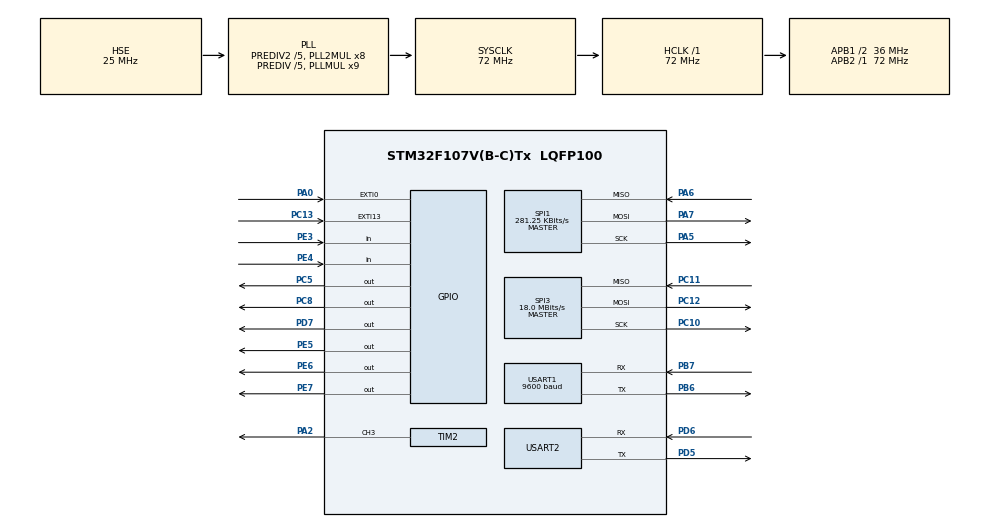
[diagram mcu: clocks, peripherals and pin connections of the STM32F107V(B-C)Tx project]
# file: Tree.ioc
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Dma.Request0=USART1_RX
Dma.USART1_RX.0.Direction=DMA_PERIPH_TO_MEMORY
Dma.USART1_RX.0.Instance=DMA1_Channel5
Dma.USART1_RX.0.MemDataAlignment=DMA_MDATAALIGN_BYTE
Dma.USART1_RX.0.MemInc=DMA_MINC_ENABLE
Dma.USART1_RX.0.Mode=DMA_CIRCULAR
Dma.USART1_RX.0.PeriphDataAlignment=DMA_PDATAALIGN_BYTE
Dma.USART1_RX.0.PeriphInc=DMA_PINC_DISABLE
Dma.USART1_RX.0.Priority=DMA_PRIORITY_LOW
Mcu.Family=STM32F1
Mcu.Name=STM32F107V(B-C)Tx
Mcu.Package=LQFP100
NVIC.DMA1_Channel5_IRQn=true\:1\:1\:true\:false\:true
NVIC.EXTI0_IRQn=true\:0\:0\:true\:false\:true
NVIC.EXTI15_10_IRQn=true\:0\:1\:false\:false\:true
NVIC.PriorityGroup=NVIC_PRIORITYGROUP_2
NVIC.USART1_IRQn=true\:1\:2\:true\:false\:true
OSC_IN.Mode=HSE-External-Oscillator
OSC_IN.Signal=RCC_OSC_IN
OSC_OUT.Mode=HSE-External-Oscillator
OSC_OUT.Signal=RCC_OSC_OUT
PA0-WKUP.Signal=GPXTI0
PA2.GPIO_Speed=GPIO_SPEED_FREQ_HIGH
PA2.Signal=S_TIM2_CH3
PA5.Mode=Full_Duplex_Master
PA5.Signal=SPI1_SCK
PA6.Mode=Full_Duplex_Master
PA6.Signal=SPI1_MISO
PA7.Mode=Full_Duplex_Master
PA7.Signal=SPI1_MOSI
PB6.Mode=Asynchronous
PB6.Signal=USART1_TX
PB7.Mode=Asynchronous
PB7.Signal=USART1_RX
PC10.Mode=Full_Duplex_Master
PC10.Signal=SPI3_SCK
PC11.Mode=Full_Duplex_Master
PC11.Signal=SPI3_MISO
PC12.Mode=Full_Duplex_Master
PC12.Signal=SPI3_MOSI
PC13-TAMPER-RTC.GPIO_ModeDefaultEXTI=GPIO_MODE_IT_FALLING
PC13-TAMPER-RTC.Signal=GPXTI13
PC5.Signal=GPIO_Output
PC8.GPIO_Speed=GPIO_SPEED_FREQ_HIGH
PC8.PinState=GPIO_PIN_RESET
PC8.Signal=GPIO_Output
PD5.Mode=Asynchronous
PD5.Signal=USART2_TX
PD6.Mode=Asynchronous
PD6.Signal=USART2_RX
PD7.GPIO_Speed=GPIO_SPEED_FREQ_HIGH
PD7.PinState=GPIO_PIN_RESET
PD7.Signal=GPIO_Output
PE3.Signal=GPIO_Input
PE4.Signal=GPIO_Input
PE5.GPIO_Speed=GPIO_SPEED_FREQ_HIGH
PE5.PinState=GPIO_PIN_RESET
PE5.Signal=GPIO_Output
PE6.GPIO_Speed=GPIO_SPEED_FREQ_HIGH
PE6.PinState=GPIO_PIN_RESET
PE6.Signal=GPIO_Output
PE7.GPIO_Speed=GPIO_SPEED_FREQ_HIGH
PE7.PinState=GPIO_PIN_RESET
PE7.Signal=GPIO_Output
ProjectManager.HeapSize=0x200
ProjectManager.StackSize=0x400
ProjectManager.TargetToolchain=MDK-ARM V5
RCC.ADCPresc=RCC_ADCPCLK2_DIV4
RCC.AHBFreq_Value=72000000
RCC.APB1CLKDivider=RCC_HCLK_DIV2
RCC.APB1Freq_Value=36000000
RCC.APB1TimFreq_Value=72000000
RCC.APB2Freq_Value=72000000
RCC.APB2TimFreq_Value=72000000
RCC.HCLKFreq_Value=72000000
RCC.HSEDivPLL=RCC_HSE_PREDIV_DIV5
RCC.HSE_VALUE=25000000
RCC.HSIState=RCC_HSI_ON
RCC.PLLMUL=RCC_PLL_MUL9
RCC.PLLSourceVirtual=RCC_PLLSOURCE_HSE
RCC.Prediv1Source=RCC_PREDIV1_SOURCE_PLL2
RCC.Prediv2=RCC_HSE_PREDIV2_DIV5
RCC.SYSCLKFreq_VALUE=72000000
RCC.SYSCLKSource=RCC_SYSCLKSOURCE_PLLCLK
RCC.USBFreq_Value=48000000
RTC.Format=RTC_FORMAT_BIN
SH.S_TIM2_CH3.0=TIM2_CH3,PWM Generation3 CH3
SPI1.BaudRatePrescaler=SPI_BAUDRATEPRESCALER_256
SPI1.CalculateBaudRate=281.25 KBits/s
SPI1.Mode=SPI_MODE_MASTER
SPI3.BaudRatePrescaler=SPI_BAUDRATEPRESCALER_2
SPI3.CLKPhase=SPI_PHASE_2EDGE
SPI3.CLKPolarity=SPI_POLARITY_HIGH
SPI3.CalculateBaudRate=18.0 MBits/s
SPI3.Mode=SPI_MODE_MASTER
TIM2.Channel-PWM\ Generation3\ CH3=TIM_CHANNEL_3
TIM2.Period=1000-1
TIM2.Prescaler=72-1
TIM2.Pulse-PWM\ Generation3\ CH3=(1000-1)/2
USART1.BaudRate=9600
VP_RTC_VS_RTC_Activate.Mode=RTC_Enabled
VP_RTC_VS_RTC_Calendar.Mode=RTC_Calendar
VP_SYS_VS_ND.Mode=No_Debug
VP_TIM2_VS_ClockSourceINT.Mode=Internal
board=Tree

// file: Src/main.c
/**
  ******************************************************************************
  * File Name          : main.c
  * Description        : Main program body
  ******************************************************************************
  *
  * COPYRIGHT(c) 2017 STMicroelectronics
  *
  * Redistribution and use in source and binary forms, with or without modification,
  * are permitted provided that the following conditions are met:
  *   1. Redistributions of source code must retain the above copyright notice,
  *      this list of conditions and the following disclaimer.
  *   2. Redistributions in binary form must reproduce the above copyright notice,
  *      this list of conditions and the following disclaimer in the documentation
  *      and/or other materials provided with the distribution.
  *   3. Neither the name of STMicroelectronics nor the names of its contributors
  *      may be used to endorse or promote products derived from this software
  *      without specific prior written permission.
  *
  * THIS SOFTWARE IS PROVIDED BY THE COPYRIGHT HOLDERS AND CONTRIBUTORS "AS IS"
  * AND ANY EXPRESS OR IMPLIED WARRANTIES, INCLUDING, BUT NOT LIMITED TO, THE
  * IMPLIED WARRANTIES OF MERCHANTABILITY AND FITNESS FOR A PARTICULAR PURPOSE ARE
  * DISCLAIMED. IN NO EVENT SHALL THE COPYRIGHT HOLDER OR CONTRIBUTORS BE LIABLE
  * FOR ANY DIRECT, INDIRECT, INCIDENTAL, SPECIAL, EXEMPLARY, OR CONSEQUENTIAL
  * DAMAGES (INCLUDING, BUT NOT LIMITED TO, PROCUREMENT OF SUBSTITUTE GOODS OR
  * SERVICES; LOSS OF USE, DATA, OR PROFITS; OR BUSINESS INTERRUPTION) HOWEVER
  * CAUSED AND ON ANY THEORY OF LIABILITY, WHETHER IN CONTRACT, STRICT LIABILITY,
  * OR TORT (INCLUDING NEGLIGENCE OR OTHERWISE) ARISING IN ANY WAY OUT OF THE USE
  * OF THIS SOFTWARE, EVEN IF ADVISED OF THE POSSIBILITY OF SUCH DAMAGE.
  *
  ******************************************************************************
  */
#include "main.h"
#include "stm32f1xx_hal.h"

/* USER CODE BEGIN Includes */
#include <string.h>
#include <math.h>
#include "et_stm32f_arm_kit_lcd.h"
#define White 0xFFFF
#define Black 0x0000
#define Grey 0xF7DE
#define Blue 0x001F
#define Blue2 0x051F
#define Red 0xF800
#define Magenta 0xF81F
#define Green 0x07E0
#define Cyan 0x7FFF
#define Yellow 0xFFE0

/* USER CODE END Includes */

RTC_HandleTypeDef hrtc;

SPI_HandleTypeDef hspi1;
SPI_HandleTypeDef hspi3;

TIM_HandleTypeDef htim2;

UART_HandleTypeDef huart1;
UART_HandleTypeDef huart2;
DMA_HandleTypeDef hdma_usart1_rx;

/* USER CODE BEGIN PV */
/* Private variables ---------------------------------------------------------*/

/* USER CODE END PV */

void SystemClock_Config(void);
void Error_Handler(void);
static void MX_GPIO_Init(void);
static void MX_DMA_Init(void);
static void MX_SPI3_Init(void);
static void MX_USART2_UART_Init(void);
static void MX_USART1_UART_Init(void);
static void MX_TIM2_Init(void);
static void MX_RTC_Init(void);
static void MX_SPI1_Init(void);

void HAL_TIM_MspPostInit(TIM_HandleTypeDef *htim);

/* USER CODE BEGIN PFP */
/* Private function prototypes -----------------------------------------------*/
int isOpen = 1;
int inStartMenu = 0;

void openValve(void) {
	if(!isOpen) {
		isOpen = 1;
		LCD_SetBackColor(Green);
		LCD_SetTextColor(White);
  	LCD_DisplayStringLine(Line0,"        OPEN        ");
		LCD_SetBackColor(White);

		float duty = 0;
		while(duty<1.0) {
			duty += 0.05;
			htim2.Instance -> CCR3 = (1000-1) * duty;
			HAL_Delay(100);
		}
	}

}
void closeValve(void) {
	if(isOpen) {
		isOpen = 0;
		LCD_SetBackColor(Blue);
		LCD_SetTextColor(White);
  	LCD_DisplayStringLine(Line0,"     TreeMinder     ");
		LCD_SetBackColor(White);

		float duty = 1.0;
		while(duty>0) {
			duty -= 0.05;
			htim2.Instance -> CCR3 = (1000-1) * duty;
			HAL_Delay(100);
		}
	}
}
char* toDateString(uint8_t  date) {
		switch(date) {
			case RTC_WEEKDAY_MONDAY: return "Mon";
			case RTC_WEEKDAY_TUESDAY: return "Tue";
			case RTC_WEEKDAY_WEDNESDAY: return "Wed";
			case RTC_WEEKDAY_THURSDAY: return "Thu";
			case RTC_WEEKDAY_FRIDAY: return "Fri";
			case RTC_WEEKDAY_SATURDAY: return "Sat";
			case RTC_WEEKDAY_SUNDAY: return "Sun";
			default: return "Day";
		}
}
int compareTime(RTC_TimeTypeDef a,RTC_TimeTypeDef b) {
		if(a.Hours==b.Hours && a.Minutes==b.Minutes && a.Seconds>>2==b.Seconds>>2)
			return 1;
		else
			return 0;
}

/* USER CODE END PFP */

/* USER CODE BEGIN 0 */
RTC_TimeTypeDef sTime;
RTC_DateTypeDef sDate;
RTC_HandleTypeDef hrtc;

RTC_TimeTypeDef alarm[8] = {
	{0,0,0},
	{0,0,0},
	{11,30,0},
	{13,00,0},
	{15,00,0},
	{17,00,0},
	{20,30,0},
	{21,30,0}
};
RTC_TimeTypeDef wakeTime = {8,0,0};
RTC_TimeTypeDef sleepTime = {21,0,0};

int statistic[7][8] = {
	{5,9,2,1,5,4,2,0},
	{1,2,1,9,0,0,0,0},
	{5,8,7,5,9,0,0,0},
	{6,4,9,0,0,0,0,0},
	{0,8,5,5,5,9,0,0},
	{3,7,8,9,1,5,4,9},
	{0,0,0,0,0,0,0,0}
};

uint32_t kg=65,age=30;
int pass=-1,day=6;
char name[21]="User";
uint8_t cmd[2],mode=0,open=0;
char recieve[21];
char disp[21],*str,lastSec=0;

//variables need to be declared at the beginning
/* USER CODE BEGIN 4 */
void calculate() {

	int sleepHrFixed = (sleepTime.Hours==0)? 24:sleepTime.Hours;
	int gap = (sleepHrFixed*60+sleepTime.Minutes) - (wakeTime.Hours*60+wakeTime.Hours);
	if(gap<0) gap *= -1;

	for(int i=0;i<8;i++) {
		int minnow = round(i/8.0*gap);
		alarm[i].Hours = (wakeTime.Hours + minnow/60)%24;
		minnow /= 60;
		if(minnow+wakeTime.Minutes>=60) alarm[i].Hours++;
		alarm[i].Minutes = (wakeTime.Minutes + minnow)%60;
	}

	while(sTime.Hours>alarm[pass+1].Hours || (sTime.Hours==alarm[pass+1].Hours&&sTime.Minutes>alarm[pass+1].Minutes)) {
		pass++;
		if(pass==8) {
			pass = -1;
			break;
		}
	}

}
void startMenu() {
		inStartMenu = 1;
		uint16_t x,y;

		LCD_Clear(0x674D);  //light green
		LCD_SetTextColor(0x6A62); //brown
		LCD_SetBackColor(0x674D); //light green

		LCD_DisplayStringLine(Line0,"     TreeMinder  ");
		LCD_DrawLine(29,320-50,220,Horizontal);
		LCD_DrawLine(30,320-50,220,Horizontal);

		LCD_SetTextColor(White);
		LCD_DisplayStringLine(Line2,"NAME: User");

		LCD_DisplayStringLine(Line3,"AGE: <    >");
		LCD_DrawRect(73,320-77,20,20); //--
		LCD_DrawRect(73,320-155,20,20); //++

		LCD_DisplayStringLine(Line4,"WEIGHT: <    >");
		LCD_DrawRect(97,320-123,20,20);
		LCD_DrawRect(97,320-203,20,20);

		LCD_DisplayStringLine(Line5,"WAKE:<    >:<    >");
		LCD_DrawRect(120,320-80,20,20);
		LCD_DrawRect(120,320-158,20,20);
		LCD_DrawRect(120,320-190,20,20);
		LCD_DrawRect(120,320-270,20,20);

		LCD_DisplayStringLine(Line6,"SLEEP:<    >:<    >");
		LCD_DrawRect(145,320-93,20,20);
		LCD_DrawRect(145,320-171,20,20);
		LCD_DrawRect(145,320-203,20,20);
		LCD_DrawRect(145,320-283,20,20);

		LCD_DisplayStringLine(Line7,"TIME:<    >:<    >");
		LCD_DrawRect(170,320-80,20,20);
		LCD_DrawRect(170,320-158,20,20);
		LCD_DrawRect(170,320-190,20,20);
		LCD_DrawRect(170,320-270,20,20);

		LCD_SetTextColor(Yellow);
		LCD_DisplayStringLine(Line9,"        DONE        ");
		LCD_DrawRect(215,320-115,25,90);

		LCD_DisplayChar(Line3,320-130,age%10+'0');
		LCD_DisplayChar(Line3,320-115,age/10+'0');

		LCD_DisplayChar(Line4,320-180,kg%10+'0');
		LCD_DisplayChar(Line4,320-165,kg/10+'0');

		LCD_DisplayChar(Line5,320-130,wakeTime.Hours%10+'0');
		LCD_DisplayChar(Line5,320-115,wakeTime.Hours/10+'0');
		LCD_DisplayChar(Line5,320-240,wakeTime.Minutes%10+'0');
		LCD_DisplayChar(Line5,320-225,wakeTime.Minutes/10+'0');

		LCD_DisplayChar(Line6,320-140,sleepTime.Hours%10+'0');
		LCD_DisplayChar(Line6,320-125,sleepTime.Hours/10+'0');
		LCD_DisplayChar(Line6,320-255,sleepTime.Minutes%10+'0');
		LCD_DisplayChar(Line6,320-240,sleepTime.Minutes/10+'0');

		LCD_DisplayChar(Line7,320-130,sTime.Hours%10+'0');
		LCD_DisplayChar(Line7,320-115,sTime.Hours/10+'0');
		LCD_DisplayChar(Line7,320-240,sTime.Minutes%10+'0');
		LCD_DisplayChar(Line7,320-225,sTime.Minutes/10+'0');

	while(inStartMenu) {
		HAL_UART_Receive_DMA(&huart1,(uint8_t *)recieve,20);

		x = TCS_Read_X();
		y = TCS_Read_Y();

			sprintf (disp, "[%02d:%02d]\n\r", x,y);
			HAL_UART_Transmit(&huart2,(uint8_t *)disp,strlen(disp),1000);

			// AGE //
		if (x >= 150 && x <= 160 && y >=240-160 && y <= 240-150 ){ //++ age
			if (age < 99 && age>1 ){
					age++;
					LCD_DisplayChar(Line3,320-130,age%10+'0');
					LCD_DisplayChar(Line3,320-115,age/10+'0');
					HAL_Delay(200);
				}
			}
		if (x >= 220 && x <= 230 && y >=240-160 && y <= 240-150 ){ //-- age
			if (age <= 99 && age>1 ){
				age--;
				LCD_DisplayChar(Line3,320-130,age%10+'0');
				LCD_DisplayChar(Line3,320-115,age/10+'0');
				HAL_Delay(200);
			}
		}

		// WEIGHT //
		if (x >= 100 && x <= 110 && y >= 240-135 && y <= 240-125){  //++weight
			if (kg < 99 && kg>1 ){
					kg++;
					LCD_DisplayChar(Line4,320-180,kg%10+'0');
					LCD_DisplayChar(Line4,320-165,kg/10+'0');
					HAL_Delay(200);
				}
		}

		if (x >= 180 && x <= 190 && y >= 240-135 && y <= 240-125){  //--weight
			if (kg <= 99 && kg >1 ){
					kg--;
					LCD_DisplayChar(Line4,320-180,kg%10+'0');
					LCD_DisplayChar(Line4,320-165,kg/10+'0');
					HAL_Delay(200);
				}
		}

		// WAKE HR //
		if (x >= 150 && x <= 160 && y >=240-110 && y <= 240-100 ){ //++ wakehr
					wakeTime.Hours = (wakeTime.Hours+1)%24;
					LCD_DisplayChar(Line5,320-130,wakeTime.Hours%10+'0');
					LCD_DisplayChar(Line5,320-115,wakeTime.Hours/10+'0');
					HAL_Delay(200);
		}

		if (x >= 220 && x <= 230 && y >=240-110 && y <= 240-100 ){ //-- wakehr
				if (wakeTime.Hours > 0 ){
					wakeTime.Hours--;
					LCD_DisplayChar(Line5,320-130,wakeTime.Hours%10+'0');
					LCD_DisplayChar(Line5,320-115,wakeTime.Hours/10+'0');
					HAL_Delay(200);
				}
		}

		// WAKE MIN //
		if (x >= 30 && x <= 40 && y >=240-110 && y <= 240-100 ){ //++wake min
			wakeTime.Minutes = (wakeTime.Minutes+1)%60;
					LCD_DisplayChar(Line5,320-240,wakeTime.Minutes%10+'0');
					LCD_DisplayChar(Line5,320-225,wakeTime.Minutes/10+'0');
			HAL_Delay(200);

		}
		if (x >= 110 && x <= 120 && y >=240-110 && y <= 240-100 ){ //-- wakemin
				if (wakeTime.Minutes > 0 ){
					wakeTime.Minutes--;
					LCD_DisplayChar(Line5,320-240,wakeTime.Minutes%10+'0');
					LCD_DisplayChar(Line5,320-225,wakeTime.Minutes/10+'0');
					HAL_Delay(200);
				}
		}

		// SLEEP HR //
		if (x >= 130 && x <= 140 && y >=240-85 && y <= 240-75 ){ //++ slphr
					sleepTime.Hours = (sleepTime.Hours+1)%24;
					LCD_DisplayChar(Line6,320-140,sleepTime.Hours%10+'0');
					LCD_DisplayChar(Line6,320-125,sleepTime.Hours/10+'0');
			HAL_Delay(200);
		}

		if (x >= 210 && x <= 220 && y >=240-85 && y <= 240-75 ){ //-- slphr
				if (sleepTime.Hours > 0 ){
					sleepTime.Hours--;
					LCD_DisplayChar(Line6,320-140,sleepTime.Hours%10+'0');
					LCD_DisplayChar(Line6,320-125,sleepTime.Hours/10+'0');
					HAL_Delay(200);
				}

		}

		// SLEEP MIN //
		if (x >= 20 && x <= 30 && y >=240-85 && y <= 240-75 ){ //++slp min
			sleepTime.Minutes = (sleepTime.Minutes+1)%60;
			LCD_DisplayChar(Line6,320-255,sleepTime.Minutes%10+'0');
			LCD_DisplayChar(Line6,320-240,sleepTime.Minutes/10+'0');
			HAL_Delay(200);

		}
		if (x >= 100 && x <= 110 && y >=240-85 && y <= 240-75 ){ //-- slpmin
			if (sleepTime.Minutes > 0 ){
					sleepTime.Minutes--;
					LCD_DisplayChar(Line6,320-255,sleepTime.Minutes%10+'0');
					LCD_DisplayChar(Line6,320-240,sleepTime.Minutes/10+'0');
				HAL_Delay(200);
				}
		}

		// TIME HR //
		if (x >= 150 && x <= 160 && y >=240-60 && y <= 240-50 ){ //++ tmhr
					sTime.Hours = (sTime.Hours+1)%24;
					LCD_DisplayChar(Line7,320-130,sTime.Hours%10+'0');
					LCD_DisplayChar(Line7,320-115,sTime.Hours/10+'0');
			HAL_Delay(200);
		}

		if (x >= 220 && x <= 230 && y >=240-60 && y <= 240-50 ){ //-- tmhr
				if (sTime.Hours > 0 ){
					sTime.Hours--;
					LCD_DisplayChar(Line7,320-130,sTime.Hours%10+'0');
					LCD_DisplayChar(Line7,320-115,sTime.Hours/10+'0');
					HAL_Delay(200);
				}
		}

		// TIME MIN //
		if (x >= 30 && x <= 40 && y >=240-60 && y <= 240-50 ){ //++tmmin
			sTime.Minutes = (sTime.Minutes+1)%60;
			LCD_DisplayChar(Line7,320-240,sTime.Minutes%10+'0');
			LCD_DisplayChar(Line7,320-225,sTime.Minutes/10+'0');
			HAL_Delay(200);

		}
		if (x >= 110 && x <= 120 && y >=240-60 && y <= 240-50 ){ //-- tmmin
				if (sTime.Minutes > 0 ){
					sTime.Minutes--;
					LCD_DisplayChar(Line7,320-240,sTime.Minutes%10+'0');
					LCD_DisplayChar(Line7,320-225,sTime.Minutes/10+'0');
					HAL_Delay(200);
				}
		}

		// DONE //
		if (x >= 100 && x <= 200 && y >=240-10 && y <= 240-0 ){ //-- DONE
				calculate();

			sprintf (disp, "%c", 'a'+kg);
			HAL_UART_Transmit_IT(&huart1, (uint8_t *) disp, 1);

				inStartMenu = 0;
		}

	}
	HAL_RTC_SetTime(&hrtc, &sTime, RTC_FORMAT_BIN);
}

void setTree(int treeNo,int step1,int step2, int step3, int step4, int step5, int step6, int step7, int step8){
		int num_25 = 320-25;
		int num_24 = 320-24;
		int num_10 = 320-10;
		int num_40 = 320-40;
		int num_26 = 320-26;

		LCD_SetTextColor(0x6A62); //brown
		LCD_DrawCircle(239,num_25-44*(treeNo),10); //ground
		LCD_DrawCircle(239,num_25-44*(treeNo),9); //ground
		LCD_DrawCircle(239,num_25-44*(treeNo),8); //ground

		if(step2+step3+step4+step5+step6+step7 && step1==0) {
					LCD_SetTextColor(Grey);
					LCD_DrawLine(195,num_25-44*(treeNo),35,Vertical); //first stem
		}
		if(step5+step6+step7 && step4==0) {
					LCD_SetTextColor(Grey);
					LCD_DrawLine(155,num_25-44*(treeNo),40,Vertical); //stem grows
		}
		if(step8 && step7==0) {
					LCD_SetTextColor(Grey);
					LCD_DrawLine(120,num_25-44*(treeNo),45,Vertical); //stem grows
		}

				if (step1 == 0){
						;
				}
				if (step1 == 1){
					LCD_SetTextColor(0x6A62); //brown
					LCD_DrawLine(195,num_25-44*(treeNo),35,Vertical); //first stem
				}

				if (step1 == 2){
					LCD_SetTextColor(Yellow);
					LCD_DrawLine(195,num_25-44*(treeNo),35,Vertical); //first stem
				}

				if (step2 == 0){

						;
				}
				if (step2 == 1){
					LCD_SetTextColor(0x6A62); //brown
					LCD_DrawLine(215,num_24-44*(treeNo),10,Left);
					LCD_SetTextColor(0x674D); // light green
					LCD_DrawCircle(200,num_10-44*(treeNo),8);  //fresh leaf
					LCD_DrawCircle(200,num_10-44*(treeNo),7);  //fresh leaf
					LCD_DrawCircle(200,num_10-44*(treeNo),6);  //fresh leaf
				}
				if (step2 == 2){
					LCD_SetTextColor(0x6A62); //brown
					LCD_DrawLine(215,num_24-44*(treeNo),10,Left);
					LCD_SetTextColor(0x674D); // light green
					LCD_DrawCircle(200,num_10-44*(treeNo),5);  //wither leaf
				}

				if (step3 == 0){
						;
				}
				if (step3 == 1){
					LCD_SetTextColor(0x6A62); //brown
					LCD_DrawLine(205,num_26-44*(treeNo),10,Right);
					LCD_SetTextColor(0x674D); // light green
					LCD_DrawCircle(190,num_40-44*(treeNo),8);  //fresh leaf
					LCD_DrawCircle(190,num_40-44*(treeNo),7);  //fresh leaf
					LCD_DrawCircle(190,num_40-44*(treeNo),6);  //fresh leaf

				}
				if (step3 == 2){
					LCD_SetTextColor(0x6A62); //brown
					LCD_DrawLine(205,num_26-44*(treeNo),10,Right);
					LCD_SetTextColor(0x674D); // light green
					LCD_DrawCircle(190,num_40-44*(treeNo),5);  //wither leaf
				}

				if (step4 == 0){
						;
				}
				if (step4 == 1){
					LCD_SetTextColor(0x6A62); //brown
					LCD_DrawLine(155,num_25-44*(treeNo),40,Vertical); //stem grows
				}
				if (step4 == 2){
					LCD_SetTextColor(Yellow);
					LCD_DrawLine(155,num_25-44*(treeNo),40,Vertical); //stem grows
				}

				if (step5 == 0){
					;
				}
				if (step5 == 1){
					LCD_SetTextColor(0x6A62); //brown
					LCD_DrawLine(175,num_24-44*(treeNo),10,Left);
					LCD_SetTextColor(0x674D); // light green
					LCD_DrawCircle(160,num_10-44*(treeNo),8);  //fresh leaf
					LCD_DrawCircle(160,num_10-44*(treeNo),7);  //fresh leaf
					LCD_DrawCircle(160,num_10-44*(treeNo),6);  //fresh leaf

				}
				if (step5 == 2){
					LCD_SetTextColor(0x6A62); //brown
					LCD_DrawLine(175,num_24-44*(treeNo),10,Left);
					LCD_SetTextColor(0x674D); // light green
					LCD_DrawCircle(160,num_10-44*(treeNo),5);  //wither leaf
				}

				if (step6 == 0){
					;
				}
				if (step6 == 1){
					LCD_SetTextColor(0x6A62); //brown
					LCD_DrawLine(155,num_26-44*(treeNo),10,Right);
					LCD_SetTextColor(0x674D); // light green
					LCD_DrawCircle(140,num_40-44*(treeNo),8);  //fresh leaf
					LCD_DrawCircle(140,num_40-44*(treeNo),7);  //fresh leaf
					LCD_DrawCircle(140,num_40-44*(treeNo),6);  //fresh leaf

				}
				if (step6 == 2){
					LCD_SetTextColor(0x6A62); //brown
					LCD_DrawLine(155,num_26-44*(treeNo),10,Right);
					LCD_SetTextColor(0x674D); // light green
					LCD_DrawCircle(140,num_40-44*(treeNo),5);  //wither leaf
				}

				if (step7 == 0){
					;
				}
				if (step7 == 1){
					LCD_SetTextColor(0x6A62); //brown
					LCD_DrawLine(120,num_25-44*(treeNo),45,Vertical); //stem grows
				}
				if (step7 == 2){
					LCD_SetTextColor(Yellow);
					LCD_DrawLine(120,num_25-44*(treeNo),45,Vertical); //stem grows
				}

				if (step8 == 0){
					;
				}
				if (step8 == 1 ){
					LCD_SetTextColor(0x674D); // light greecn
					LCD_DrawCircle(115,num_25-44*(treeNo),15);  //fresh leaf
					LCD_DrawCircle(115,num_25-44*(treeNo),14);  //fresh leaf
					LCD_DrawCircle(115,num_25-44*(treeNo),13);  //fresh leaf
				}
				if (step8 == 2 && step7 != 0){
					LCD_SetTextColor(0x674D); // light green
					LCD_DrawCircle(115,num_25-44*(treeNo),10);  //wither leaf
				}

}

void setTreeStat(int treeNo) {

	int toSet[8];
	for(int i=0;i<8;i++) {
		if(statistic[treeNo][i]<3)
			toSet[i] = 0;
		else if(statistic[treeNo][i]<7)
			toSet[i] = 2;
		else
			toSet[i] = 1;

	}
	setTree(treeNo,toSet[0],toSet[1],toSet[2],toSet[3],toSet[4],toSet[5],toSet[6],toSet[7]);
}

void callMenu() {

			LCD_Clear(White);  //light green

			LCD_SetBackColor(Blue);
			LCD_SetTextColor(White);
  		LCD_DisplayStringLine(Line0,"     TreeMinder     ");
			LCD_SetBackColor(White);

			LCD_SetTextColor(Black);
			HAL_RTC_GetTime(&hrtc, &sTime, RTC_FORMAT_BIN);
			HAL_RTC_GetDate(&hrtc, &sDate, RTC_FORMAT_BIN);
			sprintf (disp, " YOU   %02d:%02d   TIME ", sTime.Hours,sTime.Minutes);
			LCD_DisplayStringLine(Line1,(uint8_t *)disp);
			LCD_DisplayStringLine(Line2,"       CHECK       ");

			LCD_SetTextColor(Yellow);
			LCD_DrawRect(18,315,30,80); //you button
			LCD_DrawRect(18,90,30,80); //time button
			LCD_DrawRect(42,220,30,110); //check button

			setTreeStat(0);
			setTreeStat(1);
			setTreeStat(2);
			setTreeStat(3);
			setTreeStat(4);
			setTreeStat(5);
			setTreeStat(6);

}

void callYou() {
	uint16_t x,y;
	inStartMenu = 2;

	LCD_Clear(0x674D);  //light green

	LCD_SetTextColor(0x6A62); //brown
	LCD_SetBackColor(0x674D); //light green

	sprintf(disp,"NAME:%s",name);
	LCD_DisplayStringLine(Line0, (uint8_t *) disp);
	sprintf(disp,"AGE:%02d KG:%02d",age,kg);
	LCD_DisplayStringLine(Line1, (uint8_t *) disp);
	sprintf (disp, "Wake Time:  [%02d:%02d]", wakeTime.Hours,wakeTime.Minutes);
	LCD_DisplayStringLine(Line2, (uint8_t *) disp);
	sprintf (disp, "Sleep Time:  [%02d:%02d]", sleepTime.Hours,sleepTime.Minutes);
	LCD_DisplayStringLine(Line3, (uint8_t *) disp);
	sprintf (disp, "Next Time: [%02d:%02d]", alarm[pass+1].Hours,alarm[pass+1].Minutes);
	LCD_DisplayStringLine(Line4,(uint8_t *)disp);

	LCD_SetTextColor(Yellow);
	LCD_DisplayStringLine(Line9,"        DONE        ");
	LCD_DrawRect(215,320-115,25,90);

	while(inStartMenu) {
		x = TCS_Read_X();
		y = TCS_Read_Y();
		if(x!=0 && y != 0) {//if (x >= 100 && x <= 200 && y >=240-50 && y <= 240-0 ){ //-- DONE

				inStartMenu = 0;
		}
		HAL_Delay(100);
	}
	callMenu();
}

void callTime() {
	uint16_t x,y;
	inStartMenu = 3;

	LCD_Clear(0x674D);  //light green
	LCD_SetTextColor(White); //brown
	LCD_SetBackColor(0x674D); //light green

	sprintf (disp, "Water poured at:    ");
	LCD_DisplayStringLine(Line0,(uint8_t *)disp);
	for(int i=0;i<8;i++) {
		sprintf (disp, " : [%02d:%02d]          ",alarm[i].Hours,alarm[i].Minutes);
		disp[0] = i+'0';
		if(i==pass+1) LCD_SetTextColor(Yellow);
		else LCD_SetTextColor(White);
		LCD_DisplayStringLine(Line1+24*i,(uint8_t *)disp);
	}

	LCD_SetTextColor(Yellow);
	LCD_DisplayStringLine(Line9,"        DONE        ");
	LCD_DrawRect(215,320-115,25,90);

	while(inStartMenu) {
		x = TCS_Read_X();
		y = TCS_Read_Y();
		if(x!=0 && y != 0) {//if (x >= 100 && x <= 200 && y >=240-50 && y <= 240-0 ){ //-- DONE
				inStartMenu = 0;
		}
		HAL_Delay(100);
	}
	callMenu();
}
void callStat(int num) {
	uint16_t x,y;
	inStartMenu = 4;

	LCD_Clear(0x674D);  //light green
	LCD_SetTextColor(White); //brown
	LCD_SetBackColor(0x674D); //light green

	sprintf (disp, "--- Day %d ---",num+1);
	LCD_DisplayStringLine(Line0,(uint8_t *)disp);

	for(int i=0;i<8;i++) {
		sprintf (disp, "Glass %d: %d%%", i+1,statistic[num][i]*10);
		LCD_DisplayStringLine(Line1+24*i,(uint8_t *)disp);
	}

	LCD_SetTextColor(Yellow);
	LCD_DisplayStringLine(Line9,"        DONE        ");
	LCD_DrawRect(215,320-115,25,90);

	while(inStartMenu) {
		x = TCS_Read_X();
		y = TCS_Read_Y();
		if(x!=0 && y != 0) {//if (x >= 100 && x <= 200 && y >=240-50 && y <= 240-0 ){ //-- DONE
				inStartMenu = 0;
		}
		HAL_Delay(100);
	}
	callMenu();

}
//Interrupt callback routine

/* USER CODE END 0 */

int main(void)
{

  /* MCU Configuration----------------------------------------------------------*/

  /* Reset of all peripherals, Initializes the Flash interface and the Systick. */
  HAL_Init();

  /* Configure the system clock */
  SystemClock_Config();

  /* Initialize all configured peripherals */
  MX_GPIO_Init();
  MX_DMA_Init();
  MX_SPI3_Init();
  MX_USART2_UART_Init();
  MX_USART1_UART_Init();
  MX_TIM2_Init();
  MX_RTC_Init();
  MX_SPI1_Init();

  /* USER CODE BEGIN 2 */
	__HAL_UART_ENABLE_IT(&huart1, UART_IT_TC);
	__HAL_UART_ENABLE_IT(&huart1, UART_IT_RXNE);
	HAL_TIM_PWM_Start(&htim2, TIM_CHANNEL_3) ;
	HAL_PWR_EnableWakeUpPin(PWR_WAKEUP_PIN1);
	HAL_DMA_Init(&hdma_usart1_rx);

	LCD_Setup();

  /* USER CODE END 2 */

  /* Infinite loop */
  /* USER CODE BEGIN WHILE */

	int X, Y;

	uint16_t posX, posY,maxX=320,maxY=240;
	char pos[50];

	closeValve();

		startMenu();

		callTime();

	int dateOrTime = 0;

  while (1)
  {

			X = TCS_Read_X();
			Y = TCS_Read_Y();

			if (Y >= 24 && Y <= 48 && X >= 240 && X <= 320){ //call You button
					callYou();
			}
			else if (Y >= 24 && Y <= 48 && X >= 0 && X <= 80){ //call Time Button
					callTime();
			}
			else if (Y >= 24 && Y <= 48){ //call check Button
				dateOrTime = (dateOrTime+1)%2;
				LCD_SetTextColor(Black);
				if(dateOrTime) {
					HAL_RTC_GetDate(&hrtc, &sDate, RTC_FORMAT_BIN);
					sprintf (disp, " YOU %s %02d/%02d TIME ", toDateString(sDate.WeekDay),sDate.Date,sDate.Month);
					LCD_DisplayStringLine(Line1,(uint8_t *)disp);
				} else {
					HAL_RTC_GetTime(&hrtc, &sTime, RTC_FORMAT_BIN);
					sprintf (disp, " YOU   %02d:%02d   TIME ", sTime.Hours,sTime.Minutes);
					LCD_DisplayStringLine(Line1,(uint8_t *)disp);

				}

				LCD_SetTextColor(Yellow);
				LCD_DrawRect(18,320-5,30,80); //you button
				LCD_DrawRect(18,320-230,30,80); //time button

			}

			else if (Y > 48 && Y < 115 && X >= 100 && X <= 220){ //call check Button
					sprintf (disp, "%c", 'V'+((pass==-1)? 7:pass) );
					HAL_UART_Transmit_IT(&huart1, (uint8_t *) disp, 1);
					LCD_SetTextColor(Red);
					LCD_DisplayStringLine(Line2,"       WAIT.       ");
					LCD_DrawRect(42,220,30,110); //check button
					HAL_Delay(100);
					LCD_SetTextColor(Black);
					LCD_DisplayStringLine(Line2,"       CHECK       ");
					LCD_SetTextColor(Yellow);
					LCD_DrawRect(42,220,30,110); //check button
			}

			else if (Y >= 115 && Y <= 240 && X >= 320-44 && X <= 320-1){
					callStat(0);
			}
				else if (Y >= 115 && Y <= 240 && X >= 320-99 && X <= 320-45){
					callStat(1);
			}
					else if (Y >= 115 && Y <= 240 && X >= 320-144 && X <= 320-100){
					callStat(2);
			}
						else if (Y >= 115 && Y <= 240 && X >= 320-189 && X <= 320-145){
					callStat(3);
			}
							else if (Y >= 115 && Y <= 240 && X >= 320-234 && X <= 320-190){
					callStat(4);
			}
								else if (Y >= 115 && Y <= 240 && X >= 320-279 && X <= 320-235){
					callStat(5);
			}
									else if (Y >= 115 && Y <= 240 && X >= 320-319 && X <= 320-280){
					callStat(6);
			}

		HAL_RTC_GetTime(&hrtc, &sTime, RTC_FORMAT_BIN);
		HAL_RTC_GetDate(&hrtc, &sDate, RTC_FORMAT_BIN);
		if(sTime.Seconds == 0) {
			LCD_SetTextColor(Black);
			sprintf (disp, " YOU   %02d:%02d   TIME ", sTime.Hours,sTime.Minutes);
			LCD_DisplayStringLine(Line1,(uint8_t *)disp);

			LCD_SetTextColor(Yellow);
			LCD_DrawRect(18,320-5,30,80); //you button
			LCD_DrawRect(18,320-230,30,80); //time button

		}

		if(compareTime(sTime,alarm[pass+1])) {
			pass++;
			if(pass>=7) {
				pass = -1;
				day++;
				if(day>=7)
					day = 0;
				  for(int i=0;i<7;i++)
						for(int j=0;j<8;j++)
							statistic[i][j] = 0;

			}

			//strcpy(str,"It's time to drink !");
			//HAL_UART_Transmit(&huart2, (uint8_t *) str, strlen(str), 1000);

			HAL_UART_Transmit_IT(&huart1, (uint8_t *) "C", 1);
			HAL_Delay(1000);
			//closeValve();
			sprintf (disp, "Next Time: [%02d:%02d]", alarm[pass+1].Hours,alarm[pass+1].Minutes);
			LCD_DisplayStringLine(Line3,(uint8_t *)disp);
		}
		HAL_UART_Receive_DMA(&huart1,(uint8_t *)recieve,20);

  /* USER CODE END WHILE */

  }

}

/** System Clock Configuration
*/
void SystemClock_Config(void)
{

  RCC_OscInitTypeDef RCC_OscInitStruct;
  RCC_ClkInitTypeDef RCC_ClkInitStruct;
  RCC_PeriphCLKInitTypeDef PeriphClkInit;

    /**Initializes the CPU, AHB and APB busses clocks
    */
  RCC_OscInitStruct.OscillatorType = RCC_OSCILLATORTYPE_LSI|RCC_OSCILLATORTYPE_HSE;
  RCC_OscInitStruct.HSEState = RCC_HSE_ON;
  RCC_OscInitStruct.HSEPredivValue = RCC_HSE_PREDIV_DIV5;
  RCC_OscInitStruct.HSIState = RCC_HSI_ON;
  RCC_OscInitStruct.LSIState = RCC_LSI_ON;
  RCC_OscInitStruct.Prediv1Source = RCC_PREDIV1_SOURCE_PLL2;
  RCC_OscInitStruct.PLL.PLLState = RCC_PLL_ON;
  RCC_OscInitStruct.PLL.PLLSource = RCC_PLLSOURCE_HSE;
  RCC_OscInitStruct.PLL.PLLMUL = RCC_PLL_MUL9;
  RCC_OscInitStruct.PLL2.PLL2State = RCC_PLL2_ON;
  RCC_OscInitStruct.PLL2.PLL2MUL = RCC_PLL2_MUL8;
  RCC_OscInitStruct.PLL2.HSEPrediv2Value = RCC_HSE_PREDIV2_DIV5;
  if (HAL_RCC_OscConfig(&RCC_OscInitStruct) != HAL_OK)
  {
    Error_Handler();
  }

    /**Initializes the CPU, AHB and APB busses clocks
    */
  RCC_ClkInitStruct.ClockType = RCC_CLOCKTYPE_HCLK|RCC_CLOCKTYPE_SYSCLK
                              |RCC_CLOCKTYPE_PCLK1|RCC_CLOCKTYPE_PCLK2;
  RCC_ClkInitStruct.SYSCLKSource = RCC_SYSCLKSOURCE_PLLCLK;
  RCC_ClkInitStruct.AHBCLKDivider = RCC_SYSCLK_DIV1;
  RCC_ClkInitStruct.APB1CLKDivider = RCC_HCLK_DIV2;
  RCC_ClkInitStruct.APB2CLKDivider = RCC_HCLK_DIV1;

  if (HAL_RCC_ClockConfig(&RCC_ClkInitStruct, FLASH_LATENCY_2) != HAL_OK)
  {
    Error_Handler();
  }

  PeriphClkInit.PeriphClockSelection = RCC_PERIPHCLK_RTC;
  PeriphClkInit.RTCClockSelection = RCC_RTCCLKSOURCE_LSI;
  if (HAL_RCCEx_PeriphCLKConfig(&PeriphClkInit) != HAL_OK)
  {
    Error_Handler();
  }

    /**Configure the Systick interrupt time
    */
  HAL_SYSTICK_Config(HAL_RCC_GetHCLKFreq()/1000);

    /**Configure the Systick
    */
  HAL_SYSTICK_CLKSourceConfig(SYSTICK_CLKSOURCE_HCLK);

    /**Configure the Systick interrupt time
    */
  __HAL_RCC_PLLI2S_ENABLE();

  /* SysTick_IRQn interrupt configuration */
  HAL_NVIC_SetPriority(SysTick_IRQn, 0, 0);
}

/* RTC init function */
static void MX_RTC_Init(void)
{

  RTC_TimeTypeDef sTime;
  RTC_DateTypeDef DateToUpdate;

    /**Initialize RTC Only
    */
  hrtc.Instance = RTC;
  hrtc.Init.AsynchPrediv = RTC_AUTO_1_SECOND;
  hrtc.Init.OutPut = RTC_OUTPUTSOURCE_ALARM;
  if (HAL_RTC_Init(&hrtc) != HAL_OK)
  {
    Error_Handler();
  }

    /**Initialize RTC and set the Time and Date
    */
  sTime.Hours = 1;
  sTime.Minutes = 0;
  sTime.Seconds = 0;

  if (HAL_RTC_SetTime(&hrtc, &sTime, RTC_FORMAT_BIN) != HAL_OK)
  {
    Error_Handler();
  }

  DateToUpdate.WeekDay = RTC_WEEKDAY_MONDAY;
  DateToUpdate.Month = RTC_MONTH_JANUARY;
  DateToUpdate.Date = 1;
  DateToUpdate.Year = 0;

  if (HAL_RTC_SetDate(&hrtc, &DateToUpdate, RTC_FORMAT_BIN) != HAL_OK)
  {
    Error_Handler();
  }

}

/* SPI1 init function */
static void MX_SPI1_Init(void)
{

  hspi1.Instance = SPI1;
  hspi1.Init.Mode = SPI_MODE_MASTER;
  hspi1.Init.Direction = SPI_DIRECTION_2LINES;
  hspi1.Init.DataSize = SPI_DATASIZE_8BIT;
  hspi1.Init.CLKPolarity = SPI_POLARITY_LOW;
  hspi1.Init.CLKPhase = SPI_PHASE_1EDGE;
  hspi1.Init.NSS = SPI_NSS_SOFT;
  hspi1.Init.BaudRatePrescaler = SPI_BAUDRATEPRESCALER_256;
  hspi1.Init.FirstBit = SPI_FIRSTBIT_MSB;
  hspi1.Init.TIMode = SPI_TIMODE_DISABLE;
  hspi1.Init.CRCCalculation = SPI_CRCCALCULATION_DISABLE;
  hspi1.Init.CRCPolynomial = 10;
  if (HAL_SPI_Init(&hspi1) != HAL_OK)
  {
    Error_Handler();
  }

}

/* SPI3 init function */
static void MX_SPI3_Init(void)
{

  hspi3.Instance = SPI3;
  hspi3.Init.Mode = SPI_MODE_MASTER;
  hspi3.Init.Direction = SPI_DIRECTION_2LINES;
  hspi3.Init.DataSize = SPI_DATASIZE_8BIT;
  hspi3.Init.CLKPolarity = SPI_POLARITY_HIGH;
  hspi3.Init.CLKPhase = SPI_PHASE_2EDGE;
  hspi3.Init.NSS = SPI_NSS_SOFT;
  hspi3.Init.BaudRatePrescaler = SPI_BAUDRATEPRESCALER_2;
  hspi3.Init.FirstBit = SPI_FIRSTBIT_MSB;
  hspi3.Init.TIMode = SPI_TIMODE_DISABLE;
  hspi3.Init.CRCCalculation = SPI_CRCCALCULATION_DISABLE;
  hspi3.Init.CRCPolynomial = 10;
  if (HAL_SPI_Init(&hspi3) != HAL_OK)
  {
    Error_Handler();
  }

}

/* TIM2 init function */
static void MX_TIM2_Init(void)
{

  TIM_ClockConfigTypeDef sClockSourceConfig;
  TIM_MasterConfigTypeDef sMasterConfig;
  TIM_OC_InitTypeDef sConfigOC;

  htim2.Instance = TIM2;
  htim2.Init.Prescaler = 72-1;
  htim2.Init.CounterMode = TIM_COUNTERMODE_UP;
  htim2.Init.Period = 1000-1;
  htim2.Init.ClockDivision = TIM_CLOCKDIVISION_DIV1;
  if (HAL_TIM_Base_Init(&htim2) != HAL_OK)
  {
    Error_Handler();
  }

  sClockSourceConfig.ClockSource = TIM_CLOCKSOURCE_INTERNAL;
  if (HAL_TIM_ConfigClockSource(&htim2, &sClockSourceConfig) != HAL_OK)
  {
    Error_Handler();
  }

  if (HAL_TIM_PWM_Init(&htim2) != HAL_OK)
  {
    Error_Handler();
  }

  sMasterConfig.MasterOutputTrigger = TIM_TRGO_RESET;
  sMasterConfig.MasterSlaveMode = TIM_MASTERSLAVEMODE_DISABLE;
  if (HAL_TIMEx_MasterConfigSynchronization(&htim2, &sMasterConfig) != HAL_OK)
  {
    Error_Handler();
  }

  sConfigOC.OCMode = TIM_OCMODE_PWM1;
  sConfigOC.Pulse = (1000-1)/2;
  sConfigOC.OCPolarity = TIM_OCPOLARITY_HIGH;
  sConfigOC.OCFastMode = TIM_OCFAST_DISABLE;
  if (HAL_TIM_PWM_ConfigChannel(&htim2, &sConfigOC, TIM_CHANNEL_3) != HAL_OK)
  {
    Error_Handler();
  }

  HAL_TIM_MspPostInit(&htim2);

}

/* USART1 init function */
static void MX_USART1_UART_Init(void)
{

  huart1.Instance = USART1;
  huart1.Init.BaudRate = 9600;
  huart1.Init.WordLength = UART_WORDLENGTH_8B;
  huart1.Init.StopBits = UART_STOPBITS_1;
  huart1.Init.Parity = UART_PARITY_NONE;
  huart1.Init.Mode = UART_MODE_TX_RX;
  huart1.Init.HwFlowCtl = UART_HWCONTROL_NONE;
  huart1.Init.OverSampling = UART_OVERSAMPLING_16;
  if (HAL_UART_Init(&huart1) != HAL_OK)
  {
    Error_Handler();
  }

}

/* USART2 init function */
static void MX_USART2_UART_Init(void)
{

  huart2.Instance = USART2;
  huart2.Init.BaudRate = 115200;
  huart2.Init.WordLength = UART_WORDLENGTH_8B;
  huart2.Init.StopBits = UART_STOPBITS_1;
  huart2.Init.Parity = UART_PARITY_NONE;
  huart2.Init.Mode = UART_MODE_TX_RX;
  huart2.Init.HwFlowCtl = UART_HWCONTROL_NONE;
  huart2.Init.OverSampling = UART_OVERSAMPLING_16;
  if (HAL_UART_Init(&huart2) != HAL_OK)
  {
    Error_Handler();
  }

}

static void MX_DMA_Init(void)
{
  /* DMA controller clock enable */
  __HAL_RCC_DMA1_CLK_ENABLE();

  /* DMA interrupt init */
  /* DMA1_Channel5_IRQn interrupt configuration */
  HAL_NVIC_SetPriority(DMA1_Channel5_IRQn, 1, 1);
  HAL_NVIC_EnableIRQ(DMA1_Channel5_IRQn);

}

/** Configure pins as
        * Analog
        * Input
        * Output
        * EVENT_OUT
        * EXTI
*/
static void MX_GPIO_Init(void)
{

  GPIO_InitTypeDef GPIO_InitStruct;

  /* GPIO Ports Clock Enable */
  __HAL_RCC_GPIOE_CLK_ENABLE();
  __HAL_RCC_GPIOC_CLK_ENABLE();
  __HAL_RCC_GPIOA_CLK_ENABLE();
  __HAL_RCC_GPIOD_CLK_ENABLE();
  __HAL_RCC_GPIOB_CLK_ENABLE();

  /*Configure GPIO pins : PE3 PE4 */
  GPIO_InitStruct.Pin = GPIO_PIN_3|GPIO_PIN_4;
  GPIO_InitStruct.Mode = GPIO_MODE_INPUT;
  GPIO_InitStruct.Pull = GPIO_NOPULL;
  HAL_GPIO_Init(GPIOE, &GPIO_InitStruct);

  /*Configure GPIO pins : PE5 PE6 PE7 */
  GPIO_InitStruct.Pin = GPIO_PIN_5|GPIO_PIN_6|GPIO_PIN_7;
  GPIO_InitStruct.Mode = GPIO_MODE_OUTPUT_PP;
  GPIO_InitStruct.Speed = GPIO_SPEED_FREQ_HIGH;
  HAL_GPIO_Init(GPIOE, &GPIO_InitStruct);

  /*Configure GPIO pin : PC13 */
  GPIO_InitStruct.Pin = GPIO_PIN_13;
  GPIO_InitStruct.Mode = GPIO_MODE_IT_FALLING;
  GPIO_InitStruct.Pull = GPIO_NOPULL;
  HAL_GPIO_Init(GPIOC, &GPIO_InitStruct);

  /*Configure GPIO pin : PA0 */
  GPIO_InitStruct.Pin = GPIO_PIN_0;
  GPIO_InitStruct.Mode = GPIO_MODE_IT_RISING;
  GPIO_InitStruct.Pull = GPIO_NOPULL;
  HAL_GPIO_Init(GPIOA, &GPIO_InitStruct);

  /*Configure GPIO pin : PC5 */
  GPIO_InitStruct.Pin = GPIO_PIN_5;
  GPIO_InitStruct.Mode = GPIO_MODE_OUTPUT_PP;
  GPIO_InitStruct.Speed = GPIO_SPEED_FREQ_LOW;
  HAL_GPIO_Init(GPIOC, &GPIO_InitStruct);

  /*Configure GPIO pin : PC8 */
  GPIO_InitStruct.Pin = GPIO_PIN_8;
  GPIO_InitStruct.Mode = GPIO_MODE_OUTPUT_PP;
  GPIO_InitStruct.Speed = GPIO_SPEED_FREQ_HIGH;
  HAL_GPIO_Init(GPIOC, &GPIO_InitStruct);

  /*Configure GPIO pin : PD7 */
  GPIO_InitStruct.Pin = GPIO_PIN_7;
  GPIO_InitStruct.Mode = GPIO_MODE_OUTPUT_PP;
  GPIO_InitStruct.Speed = GPIO_SPEED_FREQ_HIGH;
  HAL_GPIO_Init(GPIOD, &GPIO_InitStruct);

  /*Configure GPIO pin Output Level */
  HAL_GPIO_WritePin(GPIOE, GPIO_PIN_5|GPIO_PIN_6|GPIO_PIN_7, GPIO_PIN_RESET);

  /*Configure GPIO pin Output Level */
  HAL_GPIO_WritePin(GPIOC, GPIO_PIN_5|GPIO_PIN_8, GPIO_PIN_RESET);

  /*Configure GPIO pin Output Level */
  HAL_GPIO_WritePin(GPIOD, GPIO_PIN_7, GPIO_PIN_RESET);

  /* EXTI interrupt init*/
  HAL_NVIC_SetPriority(EXTI0_IRQn, 1, 0);
  HAL_NVIC_EnableIRQ(EXTI0_IRQn);

  HAL_NVIC_SetPriority(EXTI15_10_IRQn, 1, 1);
  HAL_NVIC_EnableIRQ(EXTI15_10_IRQn);

}

void Error_Handler(void)
{
}

/************************ (C) COPYRIGHT STMicroelectronics *****END OF FILE****/
